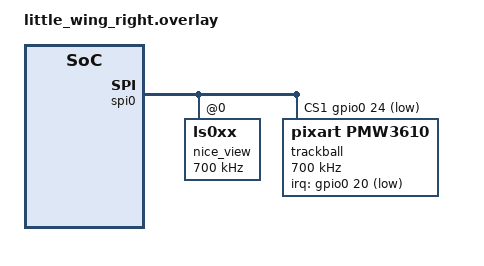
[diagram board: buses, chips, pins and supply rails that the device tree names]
#include "little_wing.dtsi"
#include <input/processors.dtsi>
#include <dt-bindings/zmk/input_transform.h>
#include <zephyr/dt-bindings/input/input-event-codes.h>

&default_transform {
	col-offset = <6>;
};

&spi0 {
    cs-gpios = <&gpio0 22 GPIO_ACTIVE_HIGH>, <&gpio0 24 GPIO_ACTIVE_LOW>;

    nice_view: ls0xx@0 {
        spi-max-frequency = <700000>;
    };

    trackball: trackball@1 {
        status = "okay";
        compatible = "pixart,pmw3610";
        reg = <1>;
        irq-gpios = <&gpio0 20 (GPIO_ACTIVE_LOW | GPIO_PULL_UP)>;
        spi-max-frequency = <700000>;
        cpi = <800>;
        evt-type = <INPUT_EV_REL>;
        x-input-code = <INPUT_REL_X>;
        y-input-code = <INPUT_REL_Y>;
    };
};

/ {
    // trackball_listener {
    //     compatible = "zmk,input-listener";
    //     device = <&trackball>;

    //     input-processors = <&zip_xy_transform INPUT_TRANSFORM_XY_SWAP>;
    // };
};
